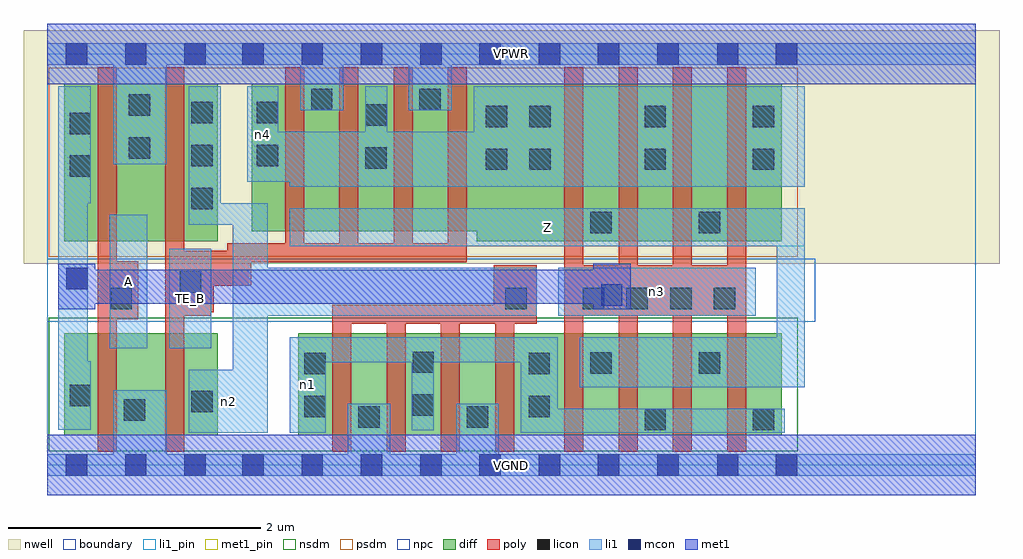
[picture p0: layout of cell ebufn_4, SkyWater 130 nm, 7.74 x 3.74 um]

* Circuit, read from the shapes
.subckt ebufn_4 A TE_B VGND VPWR Z n1 n2 n3 n4
XM1 VGND A n3 VSUBS sky130_fd_pr__nfet_01v8 w=0.81 l=0.15
XM2 n2 TE_B VGND VSUBS sky130_fd_pr__nfet_01v8 w=0.81 l=0.15
XM3 VGND n2 n1 VSUBS sky130_fd_pr__nfet_01v8 w=0.81 l=0.15 m=4
XM4 Z n3 n1 VSUBS sky130_fd_pr__nfet_01v8 w=0.81 l=0.15 m=4
XM5 VPWR A n3 n5 sky130_fd_pr__pfet_01v8 w=1.25 l=0.15
XM6 n2 TE_B VPWR n5 sky130_fd_pr__pfet_01v8 w=1.25 l=0.15
XM7 VPWR TE_B n4 n5 sky130_fd_pr__pfet_01v8 w=1.17 l=0.15 m=4
XM8 Z n3 n4 n5 sky130_fd_pr__pfet_01v8 w=1.25 l=0.15 m=4
.ends

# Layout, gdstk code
import gdstk
lib = gdstk.Library(unit=1e-6, precision=1e-09)
def R(c, l, rs):  # rectangles x0, y0, x1, y1
    for r in rs: c.add(gdstk.rectangle(r[:2], r[2:], *l))
def A(c, l, x, y, w, h, nx, ny, dx, dy):  # array of equal rectangles
    R(c, l, [(x+i*dx, y+j*dy, x+i*dx+w, y+j*dy+h) for i in range(nx) for j in range(ny)])
nwell = (64, 20)
diff = (65, 20)
poly = (66, 20)
licon = (66, 44)
li1_pin = (67, 16)
li1 = (67, 20)
mcon = (67, 44)
met1_pin = (68, 16)
met1 = (68, 20)
nsdm = (93, 44)
psdm = (94, 20)
npc = (95, 20)
boundary = (235, 4)

ebufn_4 = lib.new_cell('ebufn_4')
R(ebufn_4, nwell, [(-0.19,1.595,7.55,3.45), (0,1.595,7.36,3.45)])
R(ebufn_4, diff, [(0.135,0.235,1.35,1.045), (1.99,0.235,5.825,1.045), (0.135,1.775,1.35,3.025), (3.405,1.775,5.825,3.025), (1.62,1.855,5.825,3.025)])
A(ebufn_4, poly, 2.26, 0.105, 0.15, 1.165, 3, 1, 0.43, 0)
A(ebufn_4, poly, 4.1, 0.105, 0.15, 3.05, 4, 1, 0.43, 0)
A(ebufn_4, poly, 1.885, 1.61, 0.15, 1.545, 4, 1, 0.43, 0)
R(ebufn_4, poly, [(0.4,0.105,0.55,3.155), (0.935,0.105,1.085,3.155), (3.55,0.105,3.7,1.585), (2.26,1.12,3.88,1.27), (3.54,1.12,3.88,1.585), (0.4,1.155,0.72,1.615), (0.935,1.185,1.3,1.7), (4.1,1.185,5.54,1.585), (0.935,1.21,1.32,1.7), (0.935,1.42,1.615,1.7), (1.425,1.61,3.325,1.76)])
A(ebufn_4, licon, 1.14, 2.03, 0.17, 0.17, 1, 3, 0, 0.34)
R(ebufn_4, licon, [(4.735,0.275,4.905,0.445), (5.595,0.275,5.765,0.445), (2.465,0.295,2.635,0.465), (3.325,0.295,3.495,0.465), (0.605,0.35,0.775,0.52), (2.035,0.38,2.205,0.55), (3.815,0.38,3.985,0.55), (2.895,0.39,3.065,0.56), (1.14,0.42,1.31,0.59), (0.175,0.465,0.345,0.635), (2.035,0.72,2.205,0.89), (3.815,0.72,3.985,0.89), (4.305,0.725,4.475,0.895), (5.165,0.725,5.335,0.895), (2.895,0.73,3.065,0.9), (0.5,1.235,0.67,1.405), (3.63,1.235,3.8,1.405), (4.245,1.235,4.415,1.405), (4.59,1.235,4.76,1.405), (4.94,1.235,5.11,1.405), (5.285,1.235,5.455,1.405), (1.05,1.365,1.22,1.535), (4.305,1.84,4.475,2.01), (5.165,1.84,5.335,2.01), (0.175,2.285,0.345,2.455), (3.475,2.34,3.645,2.51), (3.82,2.34,3.99,2.51), (4.735,2.34,4.905,2.51), (5.595,2.34,5.765,2.51), (2.52,2.35,2.69,2.52), (1.66,2.37,1.83,2.54), (0.645,2.43,0.815,2.6), (0.175,2.625,0.345,2.795), (3.475,2.68,3.645,2.85), (3.82,2.68,3.99,2.85), (4.735,2.68,4.905,2.85), (5.595,2.68,5.765,2.85), (2.52,2.69,2.69,2.86), (1.66,2.71,1.83,2.88), (0.645,2.77,0.815,2.94), (2.09,2.815,2.26,2.985), (2.95,2.815,3.12,2.985)])
R(ebufn_4, li1_pin, [(0.495,0.925,0.79,1.985), (0.965,0.925,1.3,1.715), (1.92,1.735,6.005,2.035)])
R(ebufn_4, li1, [(0,-0.085,7.36,0.085), (0.52,-0.085,0.945,0.595), (2.38,-0.085,2.72,0.485), (3.24,-0.085,3.58,0.485), (1.12,0.255,1.745,0.755), (1.47,0.255,1.745,2.075), (1.92,0.255,2.205,1.015), (3.755,0.255,5.845,0.445), (3.755,0.255,4.045,1.015), (2.89,0.275,3.065,1.015), (0.085,0.28,0.32,3.005), (0.085,0.28,0.345,0.825), (4.22,0.615,6.005,1.015), (5.785,0.615,6.005,2.035), (1.92,0.815,4.045,1.015), (0.495,0.925,0.79,1.985), (0.965,0.925,1.3,1.715), (1.47,1.185,3.88,1.565), (4.05,1.185,5.615,1.565), (1.92,1.735,6.005,2.035), (1.12,1.905,1.375,3.005), (1.12,1.905,1.745,2.075), (0.085,2.075,0.345,3.005), (1.92,2.205,6.005,2.645), (2.52,2.205,2.695,3.005), (3.38,2.205,6.005,3.005), (1.585,2.245,1.83,3.005), (1.585,2.245,6.005,2.645), (0.52,2.385,0.945,3.345), (2.005,2.815,2.345,3.345), (2.865,2.815,3.205,3.345), (0,3.175,7.36,3.345)])
A(ebufn_4, mcon, 0.145, -0.085, 0.17, 0.17, 3, 2, 0.47, 3.26)
A(ebufn_4, mcon, 1.545, -0.085, 0.17, 0.17, 8, 2, 0.47, 3.26)
R(ebufn_4, mcon, [(5.31,-0.085,5.48,0.085), (5.775,-0.085,5.945,0.085), (4.39,1.265,4.56,1.435), (0.15,1.395,0.32,1.565), (5.31,3.175,5.48,3.345), (5.775,3.175,5.945,3.345)])
R(ebufn_4, met1_pin, [(0,-0.24,7.36,0.24), (0,3.02,7.36,3.5)])
R(ebufn_4, met1, [(0,-0.24,7.36,0.24), (0.085,1.235,0.38,1.595), (4.33,1.235,4.625,1.595), (0.085,1.28,4.625,1.55), (0,3.02,7.36,3.5)])
R(ebufn_4, nsdm, [(0.01,0.11,5.95,1.17)])
R(ebufn_4, psdm, [(0.01,1.65,5.95,3.15)])
R(ebufn_4, npc, [(0,1.135,6.09,1.635)])
R(ebufn_4, boundary, [(0,0,7.36,3.26)])
ebufn_4.add(gdstk.Label('A', (0.642,1.455), layer=67, texttype=5))
ebufn_4.add(gdstk.Label('TE_B', (1.132,1.32), layer=67, texttype=5))
ebufn_4.add(gdstk.Label('Z', (3.962,1.885), layer=67, texttype=5))
ebufn_4.add(gdstk.Label('n1', (2.062,0.635), layer=67, texttype=5))
ebufn_4.add(gdstk.Label('n3', (4.832,1.375), layer=67, texttype=5))
ebufn_4.add(gdstk.Label('n2', (1.432,0.505), layer=67, texttype=5))
ebufn_4.add(gdstk.Label('n4', (1.707,2.625), layer=67, texttype=5))
ebufn_4.add(gdstk.Label('VPWR', (3.68,3.26), layer=68, texttype=5))
ebufn_4.add(gdstk.Label('VGND', (3.68,0), layer=68, texttype=5))
ebufn_4.add(gdstk.Label('A', (0.642,1.455), layer=67, texttype=16))
ebufn_4.add(gdstk.Label('TE_B', (1.132,1.32), layer=67, texttype=16))
ebufn_4.add(gdstk.Label('Z', (3.962,1.885), layer=67, texttype=16))
ebufn_4.add(gdstk.Label('VPWR', (3.68,3.26), layer=68, texttype=16))
ebufn_4.add(gdstk.Label('VGND', (3.68,0), layer=68, texttype=16))

lib.write_gds('ebufn_4.gds')
